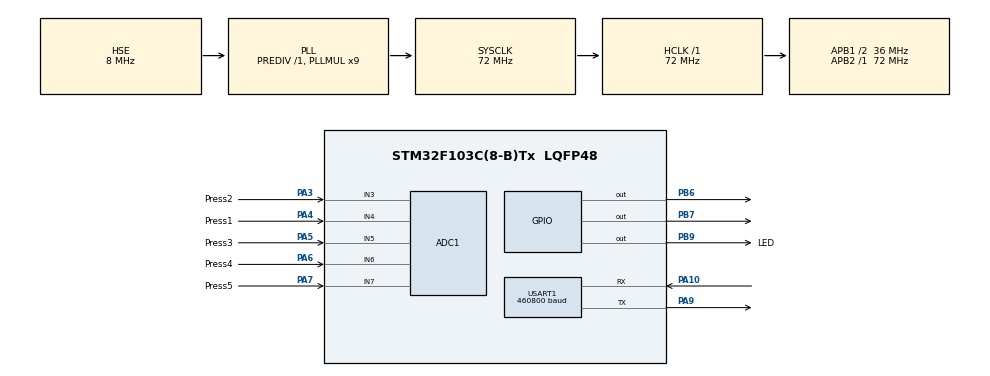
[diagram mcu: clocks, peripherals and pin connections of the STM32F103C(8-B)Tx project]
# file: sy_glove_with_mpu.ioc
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ADC1.Channel-0\#ChannelRegularConversion=ADC_CHANNEL_4
ADC1.Channel-1\#ChannelRegularConversion=ADC_CHANNEL_3
ADC1.Channel-2\#ChannelRegularConversion=ADC_CHANNEL_5
ADC1.Channel-3\#ChannelRegularConversion=ADC_CHANNEL_6
ADC1.Channel-4\#ChannelRegularConversion=ADC_CHANNEL_7
ADC1.ContinuousConvMode=DISABLE
ADC1.DataAlign=ADC_DATAALIGN_RIGHT
ADC1.DiscontinuousConvMode=DISABLE
ADC1.EnableAnalogWatchDog=false
ADC1.EnableRegularConversion=ENABLE
ADC1.ExternalTrigConv=ADC_SOFTWARE_START
ADC1.InjNumberOfConversion=0
ADC1.NbrOfConversion=5
ADC1.NbrOfConversionFlag=1
ADC1.Rank-0\#ChannelRegularConversion=1
ADC1.Rank-1\#ChannelRegularConversion=2
ADC1.Rank-2\#ChannelRegularConversion=3
ADC1.Rank-3\#ChannelRegularConversion=4
ADC1.Rank-4\#ChannelRegularConversion=5
ADC1.SamplingTime-0\#ChannelRegularConversion=ADC_SAMPLETIME_71CYCLES_5
ADC1.SamplingTime-1\#ChannelRegularConversion=ADC_SAMPLETIME_71CYCLES_5
ADC1.SamplingTime-2\#ChannelRegularConversion=ADC_SAMPLETIME_71CYCLES_5
ADC1.SamplingTime-3\#ChannelRegularConversion=ADC_SAMPLETIME_71CYCLES_5
ADC1.SamplingTime-4\#ChannelRegularConversion=ADC_SAMPLETIME_71CYCLES_5
ADC1.ScanConvMode=ADC_SCAN_ENABLE
ADC1.master=1
Dma.ADC1.1.Direction=DMA_PERIPH_TO_MEMORY
Dma.ADC1.1.Instance=DMA1_Channel1
Dma.ADC1.1.MemDataAlignment=DMA_MDATAALIGN_HALFWORD
Dma.ADC1.1.MemInc=DMA_MINC_ENABLE
Dma.ADC1.1.Mode=DMA_NORMAL
Dma.ADC1.1.PeriphDataAlignment=DMA_PDATAALIGN_HALFWORD
Dma.ADC1.1.PeriphInc=DMA_PINC_DISABLE
Dma.ADC1.1.Priority=DMA_PRIORITY_HIGH
Dma.Request0=USART1_RX
Dma.Request1=ADC1
Dma.USART1_RX.0.Direction=DMA_PERIPH_TO_MEMORY
Dma.USART1_RX.0.Instance=DMA1_Channel5
Dma.USART1_RX.0.MemDataAlignment=DMA_MDATAALIGN_BYTE
Dma.USART1_RX.0.MemInc=DMA_MINC_ENABLE
Dma.USART1_RX.0.Mode=DMA_NORMAL
Dma.USART1_RX.0.PeriphDataAlignment=DMA_PDATAALIGN_BYTE
Dma.USART1_RX.0.PeriphInc=DMA_PINC_DISABLE
Dma.USART1_RX.0.Priority=DMA_PRIORITY_HIGH
FREERTOS.Mutexes01=myMutex01,Dynamic,NULL
FREERTOS.Tasks01=defaultTask,0,128,StartDefaultTask,Default,NULL,Dynamic,NULL,NULL
FREERTOS.configTIMER_TASK_STACK_DEPTH=128
FREERTOS.configTOTAL_HEAP_SIZE=10240
FREERTOS.configUSE_TIMERS=1
Mcu.Family=STM32F1
Mcu.Name=STM32F103C(8-B)Tx
Mcu.Package=LQFP48
NVIC.ADC1_2_IRQn=true\:5\:0\:false\:false\:true\:true\:true\:true
NVIC.DMA1_Channel1_IRQn=true\:5\:0\:false\:false\:true\:true\:false\:true
NVIC.DMA1_Channel5_IRQn=true\:5\:0\:false\:false\:true\:true\:false\:true
NVIC.PriorityGroup=NVIC_PRIORITYGROUP_4
NVIC.TIM1_UP_IRQn=true\:0\:0\:false\:false\:true\:false\:false\:true
NVIC.TIM2_IRQn=true\:5\:0\:true\:false\:true\:true\:true\:true
NVIC.TimeBase=TIM1_UP_IRQn
NVIC.TimeBaseIP=TIM1
NVIC.USART1_IRQn=true\:5\:0\:true\:false\:true\:true\:true\:true
PA10.Mode=Asynchronous
PA10.Signal=USART1_RX
PA13.Mode=Serial_Wire
PA13.Signal=SYS_JTMS-SWDIO
PA14.Mode=Serial_Wire
PA14.Signal=SYS_JTCK-SWCLK
PA3.GPIO_Label=Press2
PA3.Signal=ADCx_IN3
PA4.GPIO_Label=Press1
PA4.Signal=ADCx_IN4
PA5.GPIO_Label=Press3
PA5.Signal=ADCx_IN5
PA6.GPIO_Label=Press4
PA6.Signal=ADCx_IN6
PA7.GPIO_Label=Press5
PA7.Signal=ADCx_IN7
PA9.Mode=Asynchronous
PA9.Signal=USART1_TX
PB6.GPIO_ModeDefaultOutputPP=GPIO_MODE_OUTPUT_OD
PB6.GPIO_Speed=GPIO_SPEED_FREQ_HIGH
PB6.PinState=GPIO_PIN_SET
PB6.Signal=GPIO_Output
PB7.GPIO_ModeDefaultOutputPP=GPIO_MODE_OUTPUT_OD
PB7.GPIO_Speed=GPIO_SPEED_FREQ_HIGH
PB7.PinState=GPIO_PIN_SET
PB7.Signal=GPIO_Output
PB9.GPIO_Label=LED
PB9.GPIO_Speed=GPIO_SPEED_FREQ_HIGH
PB9.PinState=GPIO_PIN_SET
PB9.Signal=GPIO_Output
PD0-OSC_IN.Mode=HSE-External-Oscillator
PD0-OSC_IN.Signal=RCC_OSC_IN
PD1-OSC_OUT.Mode=HSE-External-Oscillator
PD1-OSC_OUT.Signal=RCC_OSC_OUT
ProjectManager.HeapSize=0x200
ProjectManager.StackSize=0x400
ProjectManager.TargetToolchain=MDK-ARM V5
RCC.ADCPresc=RCC_ADCPCLK2_DIV6
RCC.AHBFreq_Value=72000000
RCC.APB1CLKDivider=RCC_HCLK_DIV2
RCC.APB1Freq_Value=36000000
RCC.APB1TimFreq_Value=72000000
RCC.APB2Freq_Value=72000000
RCC.APB2TimFreq_Value=72000000
RCC.HCLKFreq_Value=72000000
RCC.PLLMUL=RCC_PLL_MUL9
RCC.PLLSourceVirtual=RCC_PLLSOURCE_HSE
RCC.SYSCLKFreq_VALUE=72000000
RCC.SYSCLKSource=RCC_SYSCLKSOURCE_PLLCLK
RCC.USBFreq_Value=72000000
SH.ADCx_IN3.0=ADC1_IN3,IN3
SH.ADCx_IN4.0=ADC1_IN4,IN4
SH.ADCx_IN5.0=ADC1_IN5,IN5
SH.ADCx_IN6.0=ADC1_IN6,IN6
SH.ADCx_IN7.0=ADC1_IN7,IN7
TIM2.AutoReloadPreload=TIM_AUTORELOAD_PRELOAD_ENABLE
TIM2.Period=100
TIM2.Prescaler=7200-1
USART1.BaudRate=460800
USART1.VirtualMode=VM_ASYNC
VP_FREERTOS_VS_CMSIS_V1.Mode=CMSIS_V1
VP_SYS_VS_tim1.Mode=TIM1
VP_TIM2_VS_ClockSourceINT.Mode=Internal
board=custom

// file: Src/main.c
/* USER CODE BEGIN Header */
/**
  ******************************************************************************
  * @file           : main.c
  * @brief          : Main program body
  ******************************************************************************
  * @attention
  *
  * <h2><center>&copy; Copyright (c) 2020 STMicroelectronics.
  * All rights reserved.</center></h2>
  *
  * This software component is licensed by ST under Ultimate Liberty license
  * SLA0044, the "License"; You may not use this file except in compliance with
  * the License. You may obtain a copy of the License at:
  *                             www.st.com/SLA0044
  *
  ******************************************************************************
  */
/* USER CODE END Header */

#include "main.h"
#include "cmsis_os.h"
#include "adc.h"
#include "dma.h"
#include "tim.h"
#include "usart.h"
#include "gpio.h"

/* USER CODE BEGIN Includes */
#include "mpu6050_io.h"
#include "RTE_Components.h"
#ifdef RTE_Compiler_EventRecorder
	#include "EventRecorder.h"
#endif
/* USER CODE END Includes */

/* USER CODE BEGIN PV */
/* Private variables ---------------------------------------------------------*/

/* USER CODE END PV */

void SystemClock_Config(void);
void MX_FREERTOS_Init(void);
/* USER CODE BEGIN PFP */
/* Private function prototypes -----------------------------------------------*/

/* USER CODE END PFP */

int main(void)
{
  /* USER CODE BEGIN 1 */
	#ifdef RTE_Compiler_EventRecorder
	EventRecorderInitialize(EventRecordAll, 1U);
	EventRecorderStart();
	#endif

  /* USER CODE END 1 */

  /* MCU Configuration--------------------------------------------------------*/

  /* Reset of all peripherals, Initializes the Flash interface and the Systick. */
  HAL_Init();

  /* Configure the system clock */
  SystemClock_Config();

  /* Initialize all configured peripherals */
  MX_GPIO_Init();
  MX_DMA_Init();
  MX_TIM2_Init();
  MX_USART1_UART_Init();
  MX_ADC1_Init();
  /* USER CODE BEGIN 2 */
	HAL_TIM_Base_Start_IT(&htim2);
  /* USER CODE END 2 */

  /* Call init function for freertos objects (in freertos.c) */
  MX_FREERTOS_Init();
  /* Start scheduler */
  osKernelStart();

  /* We should never get here as control is now taken by the scheduler */
  /* Infinite loop */
  while (1)
  {

    /* USER CODE BEGIN 3 */
		HAL_GPIO_TogglePin(LED_GPIO_Port, LED_Pin);
		HAL_Delay(1000);

  }
  /* USER CODE END 3 */
}

void SystemClock_Config(void)
{
  RCC_OscInitTypeDef RCC_OscInitStruct = {0};
  RCC_ClkInitTypeDef RCC_ClkInitStruct = {0};
  RCC_PeriphCLKInitTypeDef PeriphClkInit = {0};

  /** Initializes the CPU, AHB and APB busses clocks
  */
  RCC_OscInitStruct.OscillatorType = RCC_OSCILLATORTYPE_HSE;
  RCC_OscInitStruct.HSEState = RCC_HSE_ON;
  RCC_OscInitStruct.HSEPredivValue = RCC_HSE_PREDIV_DIV1;
  RCC_OscInitStruct.HSIState = RCC_HSI_ON;
  RCC_OscInitStruct.PLL.PLLState = RCC_PLL_ON;
  RCC_OscInitStruct.PLL.PLLSource = RCC_PLLSOURCE_HSE;
  RCC_OscInitStruct.PLL.PLLMUL = RCC_PLL_MUL9;
  if (HAL_RCC_OscConfig(&RCC_OscInitStruct) != HAL_OK)
  {
    Error_Handler();
  }
  /** Initializes the CPU, AHB and APB busses clocks
  */
  RCC_ClkInitStruct.ClockType = RCC_CLOCKTYPE_HCLK|RCC_CLOCKTYPE_SYSCLK
                              |RCC_CLOCKTYPE_PCLK1|RCC_CLOCKTYPE_PCLK2;
  RCC_ClkInitStruct.SYSCLKSource = RCC_SYSCLKSOURCE_PLLCLK;
  RCC_ClkInitStruct.AHBCLKDivider = RCC_SYSCLK_DIV1;
  RCC_ClkInitStruct.APB1CLKDivider = RCC_HCLK_DIV2;
  RCC_ClkInitStruct.APB2CLKDivider = RCC_HCLK_DIV1;

  if (HAL_RCC_ClockConfig(&RCC_ClkInitStruct, FLASH_LATENCY_2) != HAL_OK)
  {
    Error_Handler();
  }
  PeriphClkInit.PeriphClockSelection = RCC_PERIPHCLK_ADC;
  PeriphClkInit.AdcClockSelection = RCC_ADCPCLK2_DIV6;
  if (HAL_RCCEx_PeriphCLKConfig(&PeriphClkInit) != HAL_OK)
  {
    Error_Handler();
  }
}

 /**
  * @brief  Period elapsed callback in non blocking mode
  * @note   This function is called  when TIM1 interrupt took place, inside
  * HAL_TIM_IRQHandler(). It makes a direct call to HAL_IncTick() to increment
  * a global variable "uwTick" used as application time base.
  * @param  htim : TIM handle
  * @retval None
  */
void HAL_TIM_PeriodElapsedCallback(TIM_HandleTypeDef *htim)
{
  if (htim->Instance == TIM1) {
    HAL_IncTick();
  }
  /* USER CODE BEGIN Callback 1 */
	else if(htim->Instance == TIM2)
	{
		HAL_ADC_Start_DMA(&hadc1, (uint32_t*)ADC_Original_Value, 5);
	}

  /* USER CODE END Callback 1 */
}

void Error_Handler(void)
{
  while(1)
  {
  }
}

/************************ (C) COPYRIGHT STMicroelectronics *****END OF FILE****/

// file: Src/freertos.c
/* USER CODE BEGIN Header */
/**
  ******************************************************************************
  * File Name          : freertos.c
  * Description        : Code for freertos applications
  ******************************************************************************
  * This notice applies to any and all portions of this file
  * that are not between comment pairs USER CODE BEGIN and
  * USER CODE END. Other portions of this file, whether
  * inserted by the user or by software development tools
  * are owned by their respective copyright owners.
  *
  * Copyright (c) 2019 STMicroelectronics International N.V.
  * All rights reserved.
  *
  * Redistribution and use in source and binary forms, with or without
  * modification, are permitted, provided that the following conditions are met:
  *
  * 1. Redistribution of source code must retain the above copyright notice,
  *    this list of conditions and the following disclaimer.
  * 2. Redistributions in binary form must reproduce the above copyright notice,
  *    this list of conditions and the following disclaimer in the documentation
  *    and/or other materials provided with the distribution.
  * 3. Neither the name of STMicroelectronics nor the names of other
  *    contributors to this software may be used to endorse or promote products
  *    derived from this software without specific written permission.
  * 4. This software, including modifications and/or derivative works of this
  *    software, must execute solely and exclusively on microcontroller or
  *    microprocessor devices manufactured by or for STMicroelectronics.
  * 5. Redistribution and use of this software other than as permitted under
  *    this license is void and will automatically terminate your rights under
  *    this license.
  *
  * THIS SOFTWARE IS PROVIDED BY STMICROELECTRONICS AND CONTRIBUTORS "AS IS"
  * AND ANY EXPRESS, IMPLIED OR STATUTORY WARRANTIES, INCLUDING, BUT NOT
  * LIMITED TO, THE IMPLIED WARRANTIES OF MERCHANTABILITY, FITNESS FOR A
  * PARTICULAR PURPOSE AND NON-INFRINGEMENT OF THIRD PARTY INTELLECTUAL PROPERTY
  * RIGHTS ARE DISCLAIMED TO THE FULLEST EXTENT PERMITTED BY LAW. IN NO EVENT
  * SHALL STMICROELECTRONICS OR CONTRIBUTORS BE LIABLE FOR ANY DIRECT, INDIRECT,
  * INCIDENTAL, SPECIAL, EXEMPLARY, OR CONSEQUENTIAL DAMAGES (INCLUDING, BUT NOT
  * LIMITED TO, PROCUREMENT OF SUBSTITUTE GOODS OR SERVICES; LOSS OF USE, DATA,
  * OR PROFITS; OR BUSINESS INTERRUPTION) HOWEVER CAUSED AND ON ANY THEORY OF
  * LIABILITY, WHETHER IN CONTRACT, STRICT LIABILITY, OR TORT (INCLUDING
  * NEGLIGENCE OR OTHERWISE) ARISING IN ANY WAY OUT OF THE USE OF THIS SOFTWARE,
  * EVEN IF ADVISED OF THE POSSIBILITY OF SUCH DAMAGE.
  *
  ******************************************************************************
  */
/* USER CODE END Header */

#include "FreeRTOS.h"
#include "task.h"
#include "main.h"
#include "cmsis_os.h"

/* USER CODE BEGIN Includes */
#include "stm32f1xx_hal.h"
#include "usart.h"

#include "thread_of_sensor_calibration.h"

#include "MPL_task.h"
#include "communicate_to_host_tasks.h"

/* USER CODE END Includes */

/* USER CODE BEGIN PD */
extern void thread_of_sensor_calibration(void const *argument);
/* USER CODE END PD */

osThreadId defaultTaskHandle;
osMutexId myMutex01Handle;

void StartDefaultTask(void const * argument);

void MX_FREERTOS_Init(void); /* (MISRA C 2004 rule 8.1) */

/* GetIdleTaskMemory prototype (linked to static allocation support) */
void vApplicationGetIdleTaskMemory( StaticTask_t **ppxIdleTaskTCBBuffer, StackType_t **ppxIdleTaskStackBuffer, uint32_t *pulIdleTaskStackSize );

/* GetTimerTaskMemory prototype (linked to static allocation support) */
void vApplicationGetTimerTaskMemory( StaticTask_t **ppxTimerTaskTCBBuffer, StackType_t **ppxTimerTaskStackBuffer, uint32_t *pulTimerTaskStackSize );

/* USER CODE BEGIN GET_IDLE_TASK_MEMORY */
static StaticTask_t xIdleTaskTCBBuffer;
static StackType_t xIdleStack[configMINIMAL_STACK_SIZE];

void vApplicationGetIdleTaskMemory( StaticTask_t **ppxIdleTaskTCBBuffer, StackType_t **ppxIdleTaskStackBuffer, uint32_t *pulIdleTaskStackSize )
{
  *ppxIdleTaskTCBBuffer = &xIdleTaskTCBBuffer;
  *ppxIdleTaskStackBuffer = &xIdleStack[0];
  *pulIdleTaskStackSize = configMINIMAL_STACK_SIZE;
  /* place for user code */
}
/* USER CODE END GET_IDLE_TASK_MEMORY */

/* USER CODE BEGIN GET_TIMER_TASK_MEMORY */
static StaticTask_t xTimerTaskTCBBuffer;
static StackType_t xTimerStack[configTIMER_TASK_STACK_DEPTH];

void vApplicationGetTimerTaskMemory( StaticTask_t **ppxTimerTaskTCBBuffer, StackType_t **ppxTimerTaskStackBuffer, uint32_t *pulTimerTaskStackSize )
{
  *ppxTimerTaskTCBBuffer = &xTimerTaskTCBBuffer;
  *ppxTimerTaskStackBuffer = &xTimerStack[0];
  *pulTimerTaskStackSize = configTIMER_TASK_STACK_DEPTH;
  /* place for user code */
}
/* USER CODE END GET_TIMER_TASK_MEMORY */

void MX_FREERTOS_Init(void) {
  /* Create the mutex(es) */
  /* definition and creation of myMutex01 */
  osMutexDef(myMutex01);
  myMutex01Handle = osMutexCreate(osMutex(myMutex01));

  /* Create the thread(s) */
  /* definition and creation of defaultTask */
  osThreadDef(defaultTask, StartDefaultTask, osPriorityNormal, 0, 128);
  defaultTaskHandle = osThreadCreate(osThread(defaultTask), NULL);

  /* USER CODE BEGIN RTOS_THREADS */
  /* add threads, ... */

	init_MPL_task();

	if(init_sensor_calibration_tasks())
	{
		for(;;);
	}

	if(init_communicate_to_host_tasks())
	{
		for(;;);
	}

  /* USER CODE END RTOS_THREADS */

}

void StartDefaultTask(void const * argument)
{
  /* USER CODE BEGIN StartDefaultTask */
  /* Infinite loop */
  for(;;)
  {
		osDelay(osWaitForever);
  }
  /* USER CODE END StartDefaultTask */
}

/************************ (C) COPYRIGHT STMicroelectronics *****END OF FILE****/
